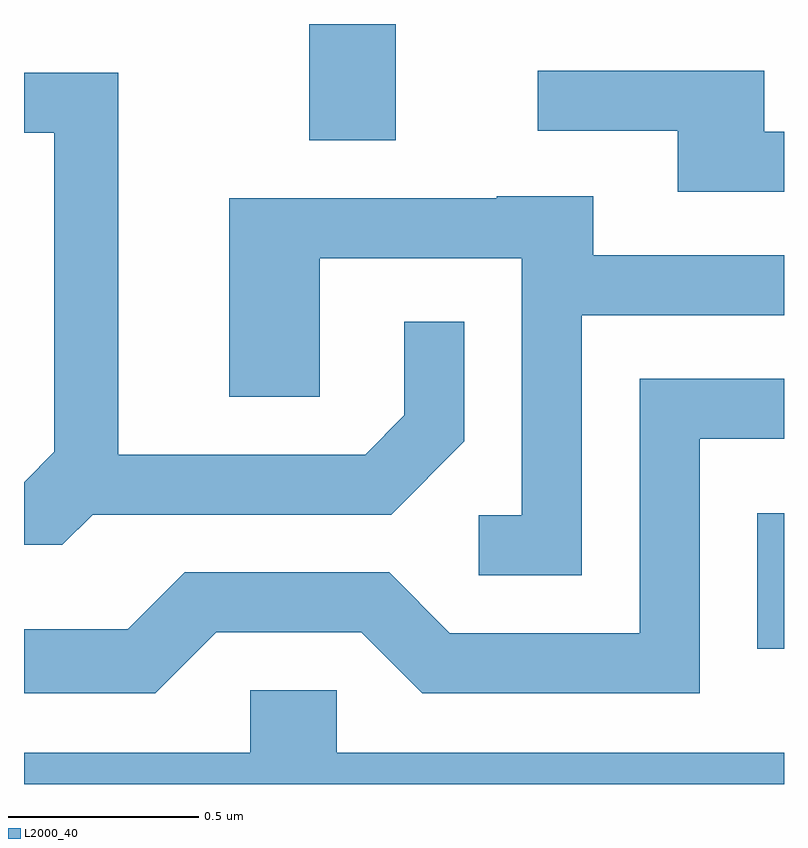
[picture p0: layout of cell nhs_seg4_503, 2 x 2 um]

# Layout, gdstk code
import gdstk
lib = gdstk.Library(unit=1e-6, precision=1e-09)
def R(c, l, rs):  # rectangles x0, y0, x1, y1
    for r in rs: c.add(gdstk.rectangle(r[:2], r[2:], *l))
def P(c, l, *ps):  # polygons
    for p in ps: c.add(gdstk.Polygon(p, *l))
L2000_40 = (2000, 40)

nhs_seg4_503 = lib.new_cell('nhs_seg4_503')
R(nhs_seg4_503, L2000_40, [(190.541,1346.338,190.611,1346.694), (189.361,1347.676,189.589,1347.982)])
P(nhs_seg4_503, L2000_40, [(190.611,1347.699),(190.559,1347.699),(190.559,1347.859),(189.963,1347.859),(189.963,1347.701),(190.331,1347.701),(190.331,1347.541),(190.611,1347.541)],
  [(188.792,1346.691),(189.577,1346.691),(189.769,1346.884),(189.769,1347.198),(189.611,1347.198),(189.611,1346.952),(189.509,1346.849),(188.859,1346.849),(188.859,1347.854),(188.611,1347.854),(188.611,1347.696),(188.691,1347.696),(188.691,1346.857),(188.611,1346.776),(188.611,1346.611),(188.712,1346.611)],
  [(190.079,1347.216),(190.611,1347.216),(190.611,1347.374),(190.109,1347.374),(190.109,1347.529),(189.855,1347.529),(189.855,1347.524),(189.151,1347.524),(189.151,1347.001),(189.389,1347.001),(189.389,1347.366),(189.921,1347.366),(189.921,1346.689),(189.808,1346.689),(189.808,1346.531),(190.079,1346.531)],
  [(189.117,1346.381),(189.499,1346.381),(189.659,1346.221),(190.389,1346.221),(190.389,1346.891),(190.611,1346.891),(190.611,1347.049),(190.231,1347.049),(190.231,1346.379),(189.732,1346.379),(189.572,1346.539),(189.034,1346.539),(188.884,1346.389),(188.611,1346.389),(188.611,1346.221),(188.957,1346.221)],
  [(190.611,1346.064),(189.434,1346.064),(189.434,1346.229),(189.206,1346.229),(189.206,1346.064),(188.611,1346.064),(188.611,1345.982),(190.611,1345.982)])

lib.write_gds('nhs_seg4_503.gds')
